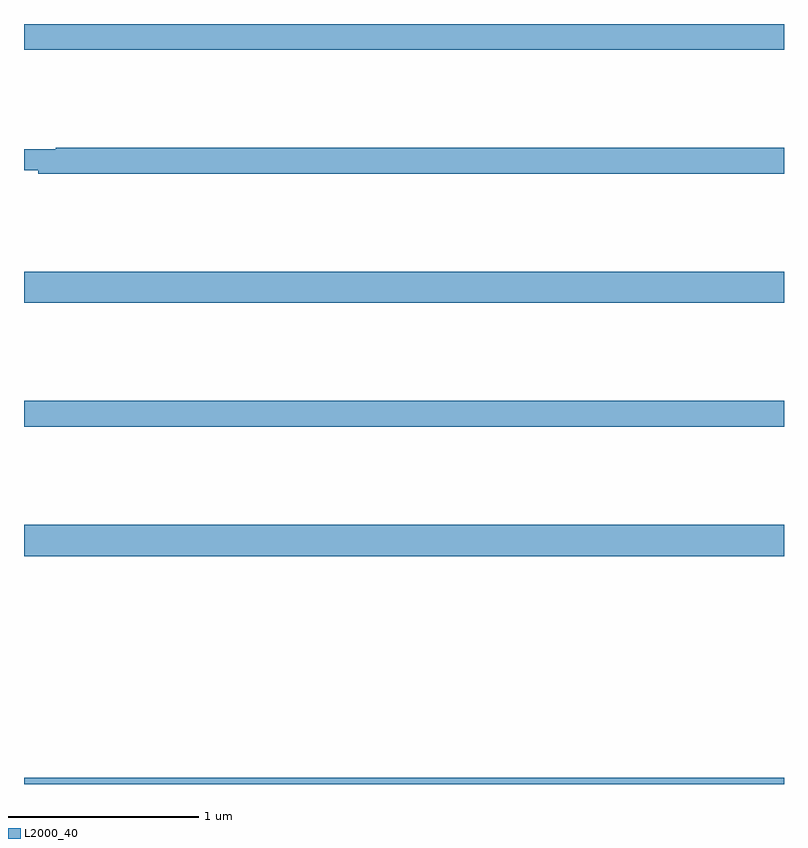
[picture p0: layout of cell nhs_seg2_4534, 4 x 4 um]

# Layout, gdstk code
import gdstk
lib = gdstk.Library(unit=1e-6, precision=1e-09)
def R(c, l, rs):  # rectangles x0, y0, x1, y1
    for r in rs: c.add(gdstk.rectangle(r[:2], r[2:], *l))
def P(c, l, *ps):  # polygons
    for p in ps: c.add(gdstk.Polygon(p, *l))
L2000_40 = (2000, 40)

nhs_seg2_4534 = lib.new_cell('nhs_seg2_4534')
R(nhs_seg2_4534, L2000_40, [(357,615.8,361,615.832), (357,617,361,617.164), (357,617.68,361,617.816), (357,618.332,361,618.496), (357,619.664,361,619.8)])
P(nhs_seg2_4534, L2000_40, [(361,619.148),(357.167,619.148),(357.167,619.141),(357,619.141),(357,619.031),(357.076,619.031),(357.076,619.012),(361,619.012)])

lib.write_gds('nhs_seg2_4534.gds')
